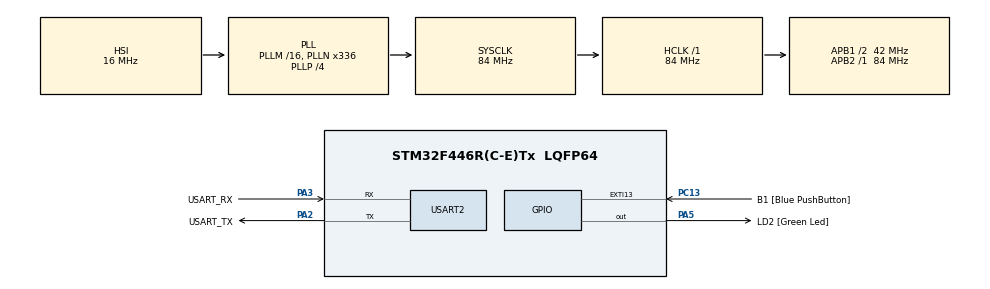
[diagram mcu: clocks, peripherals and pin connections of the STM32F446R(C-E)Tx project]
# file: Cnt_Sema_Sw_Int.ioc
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Mcu.Family=STM32F4
Mcu.Name=STM32F446R(C-E)Tx
Mcu.Package=LQFP64
NVIC.EXTI15_10_IRQn=true\:6\:0\:true\:false\:true\:true\:true\:true
NVIC.PriorityGroup=NVIC_PRIORITYGROUP_4
NVIC.TIM6_DAC_IRQn=true\:15\:0\:false\:false\:true\:false\:true\:true
NVIC.TimeBase=TIM6_DAC_IRQn
NVIC.TimeBaseIP=TIM6
PA13.GPIO_Label=TMS
PA13.Signal=SYS_JTMS-SWDIO
PA14.GPIO_Label=TCK
PA14.Signal=SYS_JTCK-SWCLK
PA2.GPIO_Label=USART_TX
PA2.Mode=Asynchronous
PA2.Signal=USART2_TX
PA3.GPIO_Label=USART_RX
PA3.Mode=Asynchronous
PA3.Signal=USART2_RX
PA5.GPIO_Label=LD2 [Green Led]
PA5.Signal=GPIO_Output
PB3.GPIO_Label=SWO
PB3.Signal=SYS_JTDO-SWO
PC13.GPIO_Label=B1 [Blue PushButton]
PC13.GPIO_ModeDefaultEXTI=GPIO_MODE_IT_FALLING
PC13.Signal=GPXTI13
PC14-OSC32_IN.Signal=RCC_OSC32_IN
PC15-OSC32_OUT.Signal=RCC_OSC32_OUT
PH0-OSC_IN.Signal=RCC_OSC_IN
PH1-OSC_OUT.Signal=RCC_OSC_OUT
ProjectManager.HeapSize=0x200
ProjectManager.StackSize=0x400
ProjectManager.TargetToolchain=STM32CubeIDE
RCC.AHBFreq_Value=84000000
RCC.APB1CLKDivider=RCC_HCLK_DIV2
RCC.APB1Freq_Value=42000000
RCC.APB1TimFreq_Value=84000000
RCC.APB2Freq_Value=84000000
RCC.APB2TimFreq_Value=84000000
RCC.CortexFreq_Value=84000000
RCC.FLatency-AdvancedSettings=FLASH_LATENCY_2
RCC.HCLKFreq_Value=84000000
RCC.HSE_VALUE=8000000
RCC.HSI_VALUE=16000000
RCC.LSE_VALUE=32768
RCC.PLLN=336
RCC.PLLP=RCC_PLLP_DIV4
RCC.SYSCLKFreq_VALUE=84000000
RCC.SYSCLKSource=RCC_SYSCLKSOURCE_PLLCLK
RCC.USBFreq_Value=168000000
RCC.VCOOutputFreq_Value=336000000
USART2.VirtualMode=VM_ASYNC
VP_SYS_VS_tim6.Mode=TIM6
board=NUCLEO-F446RE

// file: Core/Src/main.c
/* USER CODE BEGIN Header */
/**
  ******************************************************************************
  * @file           : main.c
  * @brief          : Main program body
  ******************************************************************************
  * @attention
  *
  * Copyright (c) 2025 STMicroelectronics.
  * All rights reserved.
  *
  * This software is licensed under terms that can be found in the LICENSE file
  * in the root directory of this software component.
  * If no LICENSE file comes with this software, it is provided AS-IS.
  *
  ******************************************************************************
  */
/* USER CODE END Header */
#include "main.h"

UART_HandleTypeDef huart2;

/* USER CODE BEGIN PV */

SemaphoreHandle_t semacount;
TaskHandle_t periodic_task_hanlde;
TaskHandle_t handler_task_hanlde;

/* USER CODE END PV */

void SystemClock_Config(void);
static void MX_GPIO_Init(void);
static void MX_USART2_UART_Init(void);
/* USER CODE BEGIN PFP */

void periodic_task(void *);
void handler_task(void *);
void software_Interrupt(void);
void printmsg(char msg[]);

/* USER CODE END PFP */

int main(void)
{

  /* USER CODE BEGIN 1 */
	BaseType_t status;

  /* USER CODE END 1 */

  /* MCU Configuration--------------------------------------------------------*/

  /* Reset of all peripherals, Initializes the Flash interface and the Systick. */
  HAL_Init();

  /* Configure the system clock */
  SystemClock_Config();

  /* Initialize all configured peripherals */
  MX_GPIO_Init();
  MX_USART2_UART_Init();
  /* USER CODE BEGIN 2 */
  HAL_Delay(500);
  vTaskDelay(pdMS_TO_TICKS(500));

  status = xTaskCreate(periodic_task, "Periodic_Task", 200, NULL, 3, &periodic_task_hanlde);
  configASSERT(status == pdPASS);

  status = xTaskCreate(handler_task, "Hanlder_Task", 200, NULL, 2, &handler_task_hanlde);
  configASSERT(status == pdPASS);

  semacount = xSemaphoreCreateCounting(10,0);

  vTaskStartScheduler();

  /* USER CODE END 2 */

  /* Infinite loop */
  while (1)
  {

  }
}

void SystemClock_Config(void)
{
  RCC_OscInitTypeDef RCC_OscInitStruct = {0};
  RCC_ClkInitTypeDef RCC_ClkInitStruct = {0};

  /** Configure the main internal regulator output voltage
  */
  __HAL_RCC_PWR_CLK_ENABLE();
  __HAL_PWR_VOLTAGESCALING_CONFIG(PWR_REGULATOR_VOLTAGE_SCALE3);

  /** Initializes the RCC Oscillators according to the specified parameters
  * in the RCC_OscInitTypeDef structure.
  */
  RCC_OscInitStruct.OscillatorType = RCC_OSCILLATORTYPE_HSI;
  RCC_OscInitStruct.HSIState = RCC_HSI_ON;
  RCC_OscInitStruct.HSICalibrationValue = RCC_HSICALIBRATION_DEFAULT;
  RCC_OscInitStruct.PLL.PLLState = RCC_PLL_ON;
  RCC_OscInitStruct.PLL.PLLSource = RCC_PLLSOURCE_HSI;
  RCC_OscInitStruct.PLL.PLLM = 16;
  RCC_OscInitStruct.PLL.PLLN = 336;
  RCC_OscInitStruct.PLL.PLLP = RCC_PLLP_DIV4;
  RCC_OscInitStruct.PLL.PLLQ = 2;
  RCC_OscInitStruct.PLL.PLLR = 2;
  if (HAL_RCC_OscConfig(&RCC_OscInitStruct) != HAL_OK)
  {
    Error_Handler();
  }

  /** Initializes the CPU, AHB and APB buses clocks
  */
  RCC_ClkInitStruct.ClockType = RCC_CLOCKTYPE_HCLK|RCC_CLOCKTYPE_SYSCLK
                              |RCC_CLOCKTYPE_PCLK1|RCC_CLOCKTYPE_PCLK2;
  RCC_ClkInitStruct.SYSCLKSource = RCC_SYSCLKSOURCE_PLLCLK;
  RCC_ClkInitStruct.AHBCLKDivider = RCC_SYSCLK_DIV1;
  RCC_ClkInitStruct.APB1CLKDivider = RCC_HCLK_DIV2;
  RCC_ClkInitStruct.APB2CLKDivider = RCC_HCLK_DIV1;

  if (HAL_RCC_ClockConfig(&RCC_ClkInitStruct, FLASH_LATENCY_2) != HAL_OK)
  {
    Error_Handler();
  }
}

static void MX_USART2_UART_Init(void)
{

  huart2.Instance = USART2;
  huart2.Init.BaudRate = 115200;
  huart2.Init.WordLength = UART_WORDLENGTH_8B;
  huart2.Init.StopBits = UART_STOPBITS_1;
  huart2.Init.Parity = UART_PARITY_NONE;
  huart2.Init.Mode = UART_MODE_TX_RX;
  huart2.Init.HwFlowCtl = UART_HWCONTROL_NONE;
  huart2.Init.OverSampling = UART_OVERSAMPLING_16;
  if (HAL_UART_Init(&huart2) != HAL_OK)
  {
    Error_Handler();
  }

}

static void MX_GPIO_Init(void)
{
  GPIO_InitTypeDef GPIO_InitStruct = {0};

  /* GPIO Ports Clock Enable */
  __HAL_RCC_GPIOC_CLK_ENABLE();
  __HAL_RCC_GPIOH_CLK_ENABLE();
  __HAL_RCC_GPIOA_CLK_ENABLE();
  __HAL_RCC_GPIOB_CLK_ENABLE();

  /*Configure GPIO pin Output Level */
  HAL_GPIO_WritePin(LD2_GPIO_Port, LD2_Pin, GPIO_PIN_RESET);

  /*Configure GPIO pin : B1_Pin */
  GPIO_InitStruct.Pin = B1_Pin;
  GPIO_InitStruct.Mode = GPIO_MODE_IT_FALLING;
  GPIO_InitStruct.Pull = GPIO_NOPULL;
  HAL_GPIO_Init(B1_GPIO_Port, &GPIO_InitStruct);

  /*Configure GPIO pin : LD2_Pin */
  GPIO_InitStruct.Pin = LD2_Pin;
  GPIO_InitStruct.Mode = GPIO_MODE_OUTPUT_PP;
  GPIO_InitStruct.Pull = GPIO_NOPULL;
  GPIO_InitStruct.Speed = GPIO_SPEED_FREQ_LOW;
  HAL_GPIO_Init(LD2_GPIO_Port, &GPIO_InitStruct);

  /* EXTI interrupt init*/
  HAL_NVIC_SetPriority(EXTI15_10_IRQn, 6, 0);
  HAL_NVIC_EnableIRQ(EXTI15_10_IRQn);

}

/* USER CODE BEGIN 4 */
void printmsg(char msg[])
{
	HAL_UART_Transmit(&huart2, (uint8_t *)msg, strlen(msg), HAL_MAX_DELAY);
}

void periodic_task(void *)
{
	while(1)
	{
		vTaskDelay(pdMS_TO_TICKS(500));

		printmsg("Periodic task - Pending the interrupt.\r\n");

		/*This will pend the interrupt forcefully so that CPU will run this ISR's*/
		NVIC_SetPendingIRQ(EXTI15_10_IRQn);

		printmsg("Periodic Task resuming\r\n");

	}
}
void handler_task(void *)
{
	while(1)
	{
		xSemaphoreTake(semacount,portMAX_DELAY);

		printmsg("Handler Task -- Processing Event \r\n");
	}
}
void software_Interrupt(void)
{
	HAL_NVIC_SetPriority(EXTI15_10_IRQn,configLIBRARY_MAX_SYSCALL_INTERRUPT_PRIORITY+1,0);

	//Enable the IRQ
	HAL_NVIC_EnableIRQ(EXTI15_10_IRQn);
}

/* USER CODE END 4 */

void HAL_TIM_PeriodElapsedCallback(TIM_HandleTypeDef *htim)
{
  if (htim->Instance == TIM6) {
    HAL_IncTick();
  }
}

void Error_Handler(void)
{
  __disable_irq();
  while (1)
  {
  }
}
